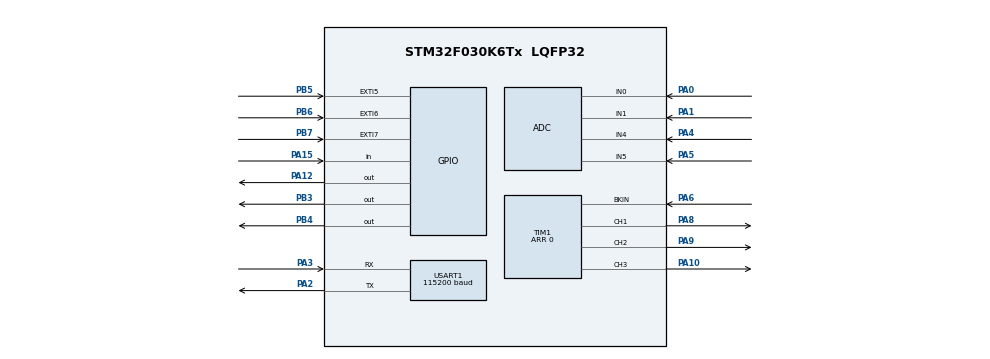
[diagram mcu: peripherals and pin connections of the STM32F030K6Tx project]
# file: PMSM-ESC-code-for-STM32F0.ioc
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ADC.ClockPrescaler=ADC_CLOCK_SYNC_PCLK_DIV4
ADC.ContinuousConvMode=ENABLE
ADC.EOCSelection=ADC_EOC_SEQ_CONV
ADC.SamplingTime=ADC_SAMPLETIME_13CYCLES_5
Dma.ADC.0.Direction=DMA_PERIPH_TO_MEMORY
Dma.ADC.0.Instance=DMA1_Channel1
Dma.ADC.0.MemDataAlignment=DMA_MDATAALIGN_HALFWORD
Dma.ADC.0.MemInc=DMA_MINC_ENABLE
Dma.ADC.0.Mode=DMA_CIRCULAR
Dma.ADC.0.PeriphDataAlignment=DMA_PDATAALIGN_HALFWORD
Dma.ADC.0.PeriphInc=DMA_PINC_DISABLE
Dma.ADC.0.Priority=DMA_PRIORITY_LOW
Dma.Request0=ADC
Mcu.Family=STM32F0
Mcu.Name=STM32F030K6Tx
Mcu.Package=LQFP32
NVIC.DMA1_Channel1_IRQn=true\:0\:0\:false\:false\:true\:false\:true\:true
PA0.Mode=IN0
PA0.Signal=ADC_IN0
PA1.Mode=IN1
PA1.Signal=ADC_IN1
PA10.GPIO_FMA10=__NULL
PA10.GPIO_Speed=GPIO_SPEED_FREQ_HIGH
PA10.Signal=S_TIM1_CH3
PA12.Signal=GPIO_Output
PA13.Mode=Serial_Wire
PA13.Signal=SYS_SWDIO
PA14.Mode=Serial_Wire
PA14.Signal=SYS_SWCLK
PA15.Signal=GPIO_Input
PA2.Mode=Asynchronous
PA2.Signal=USART1_TX
PA3.Mode=Asynchronous
PA3.Signal=USART1_RX
PA4.Mode=IN4
PA4.Signal=ADC_IN4
PA5.Mode=IN5
PA5.Signal=ADC_IN5
PA6.Mode=Activate-Break-Input
PA6.Signal=TIM1_BKIN
PA8.GPIO_Speed=GPIO_SPEED_FREQ_HIGH
PA8.Signal=S_TIM1_CH1
PA9.GPIO_FMA9=__NULL
PA9.GPIO_Speed=GPIO_SPEED_FREQ_HIGH
PA9.Signal=S_TIM1_CH2
PB3.Signal=GPIO_Output
PB4.Signal=GPIO_Output
PB5.GPIO_PuPd=GPIO_PULLUP
PB5.Signal=GPXTI5
PB6.GPIO_PuPd=GPIO_PULLUP
PB6.Signal=GPXTI6
PB7.GPIO_PuPd=GPIO_PULLUP
PB7.Signal=GPXTI7
PF0-OSC_IN.Mode=HSE-External-Oscillator
PF0-OSC_IN.Signal=RCC_OSC_IN
PF1-OSC_OUT.Mode=HSE-External-Oscillator
PF1-OSC_OUT.Signal=RCC_OSC_OUT
ProjectManager.HeapSize=0x200
ProjectManager.StackSize=0x400
ProjectManager.TargetToolchain=STM32CubeIDE
SH.S_TIM1_CH1.0=TIM1_CH1,PWM Generation1 CH1
SH.S_TIM1_CH2.0=TIM1_CH2,PWM Generation2 CH2
SH.S_TIM1_CH3.0=TIM1_CH3,PWM Generation3 CH3
TIM1.AutomaticOutput=TIM_AUTOMATICOUTPUT_ENABLE
TIM1.BreakPolarity=TIM_BREAKPOLARITY_LOW
TIM1.Channel-PWM\ Generation1\ CH1=TIM_CHANNEL_1
TIM1.Channel-PWM\ Generation2\ CH2=TIM_CHANNEL_2
TIM1.Channel-PWM\ Generation3\ CH3=TIM_CHANNEL_3
TIM1.OffStateIDLEMode=TIM_OSSI_DISABLE
TIM1.OffStateRunMode=TIM_OSSR_DISABLE
TIM1.Period=0
TIM14.Period=0
USART1.BaudRate=115200
USART1.VirtualMode-Asynchronous=VM_ASYNC
VP_ADC_TempSens_Input.Mode=IN-TempSens
VP_ADC_Vref_Input.Mode=IN-Vrefint
VP_TIM14_VS_ClockSourceINT.Mode=Enable_Timer
VP_TIM1_VS_ClockSourceINT.Mode=Internal
board=custom

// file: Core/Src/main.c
/* USER CODE BEGIN Header */
/**
  ******************************************************************************
  * @file           : main.c
  * @brief          : Main program body
  ******************************************************************************
  * @attention
  *
  * Copyright (c) 2025 STMicroelectronics.
  * All rights reserved.
  *
  * This software is licensed under terms that can be found in the LICENSE file
  * in the root directory of this software component.
  * If no LICENSE file comes with this software, it is provided AS-IS.
  *
  ******************************************************************************
  */
/* USER CODE END Header */
#include "main.h"
#include "adc.h"
#include "dma.h"
#include "tim.h"
#include "usart.h"
#include "gpio.h"

/* USER CODE BEGIN Includes */
#include "PMSM_FUNC.h"
#include "board_config_V1.h"
/* USER CODE END Includes */

/* USER CODE BEGIN PV */
#ifdef ENABLE_UART_DEBUG
char stringToUART[100] = "buffer here\r\n";//{'\0',};
#endif
uint16_t ADCBuffer[6]={0,};
extern uint32_t globalTime;
/* USER CODE END PV */

void SystemClock_Config(void);

int main(void)
{

  /* MCU Configuration--------------------------------------------------------*/

  /* Reset of all peripherals, Initializes the Flash interface and the Systick. */
  HAL_Init();

  /* Configure the system clock */
  SystemClock_Config();

  /* Initialize all configured peripherals */
//  MX_GPIO_Init();
  MX_DMA_Init();
  MX_ADC_Init();
  MX_TIM1_Init();
  MX_TIM14_Init();
  MX_USART1_UART_Init();
  /* USER CODE BEGIN 2 */
  initGPIO();
	HAL_ADCEx_Calibration_Start(&hadc);
	HAL_ADC_Start_DMA(&hadc,(uint32_t*)&ADCBuffer,6);

	PMSM_Init();
	initController();
  /* USER CODE END 2 */

  /* Infinite loop */
  while (1)
  {

    /* USER CODE BEGIN 3 */

	  //sendToUART("HELLO\r\n");
	  //snprintf(stringToUART,100,"ADCBuffer=%d\r\n",ADCBuffer[0]);
	  //sendToUART(stringToUART);

	  if ((ADCBuffer[0] & 0xFFF0) > getThrottleStartValue()) {
		  // If Motor Is not running
		  if (!isMotorRunning()) {
			  // Start motor
			  // Check Reverse button
			  if (isReverseButtonPressed()) {
				  // Reverse
				  setMotorSpinDirection(PMSM_CCW);
			  } else {
				  // Forward
				  setMotorSpinDirection(PMSM_CW);
			  }
			  BLDC_MotorCommutation(getRotorSector());
			  setMotorRunningState(true);
		  }

		  PMSM_updatePMSMPWMVariable(PMSM_ADCToPWM(ADCBuffer[0] & 0xFFF0));
		  __HAL_TIM_ENABLE_IT(&htim1,TIM_IT_UPDATE);//start timer 1 interrupt
#ifdef ENABLE_UART_DEBUG
		  snprintf(stringToUART,100,"PMSM_PWM=%d\r\n",PMSM_ADCToPWM(ADCBuffer[0] & 0xFFF8));
		  //snprintf(stringToUART,100,"GT=%d CNT=%d\r\n",globalTime,counter);
		  sendToUART(stringToUART);
#endif
		  GPIO_SET_PIN(GPIOB, GREEN_LED);//set green LED
	  }else {
		  __HAL_TIM_DISABLE_IT(&htim1,TIM_IT_UPDATE);//stop timer 1 interrupt
		  PMSM_SetPWMWidthToYGB(0);
		  GPIO_SET_PIN(GPIOB, GREEN_LED);//reset green LED
	  }
  }
  /* USER CODE END 3 */
}

//void SystemClock_Config(void)
//{
//  RCC_OscInitTypeDef RCC_OscInitStruct = {0};
//  RCC_ClkInitTypeDef RCC_ClkInitStruct = {0};
//  RCC_PeriphCLKInitTypeDef PeriphClkInit = {0};
//
//  /** Initializes the RCC Oscillators according to the specified parameters
//  * in the RCC_OscInitTypeDef structure.
//  */
//  RCC_OscInitStruct.OscillatorType = RCC_OSCILLATORTYPE_HSI;
//  RCC_OscInitStruct.HSIState = RCC_HSI_ON;
//  RCC_OscInitStruct.HSICalibrationValue = RCC_HSICALIBRATION_DEFAULT;
//  RCC_OscInitStruct.PLL.PLLState = RCC_PLL_NONE;
//  if (HAL_RCC_OscConfig(&RCC_OscInitStruct) != HAL_OK)
//  {
//    Error_Handler();
//  }
//
//  /** Initializes the CPU, AHB and APB buses clocks
//  */
//  RCC_ClkInitStruct.ClockType = RCC_CLOCKTYPE_HCLK|RCC_CLOCKTYPE_SYSCLK
//                              |RCC_CLOCKTYPE_PCLK1;
//  RCC_ClkInitStruct.SYSCLKSource = RCC_SYSCLKSOURCE_HSI;
//  RCC_ClkInitStruct.AHBCLKDivider = RCC_SYSCLK_DIV1;
//  RCC_ClkInitStruct.APB1CLKDivider = RCC_HCLK_DIV1;
//
//  if (HAL_RCC_ClockConfig(&RCC_ClkInitStruct, FLASH_LATENCY_0) != HAL_OK)
//  {
//    Error_Handler();
//  }
//  PeriphClkInit.PeriphClockSelection = RCC_PERIPHCLK_USART1;
//  PeriphClkInit.Usart1ClockSelection = RCC_USART1CLKSOURCE_PCLK1;
//  if (HAL_RCCEx_PeriphCLKConfig(&PeriphClkInit) != HAL_OK)
//  {
//    Error_Handler();
//  }
//}

/* USER CODE BEGIN 4 */
//*********************************************handling system clk***************//
void SystemClock_Config(void)
{
  // Enable HSI (High Speed Internal) clock
  RCC->CR |= RCC_CR_HSION;

  // Wait till HSI is ready
  while((RCC->CR & RCC_CR_HSIRDY) == 0);

  // Configure the Flash latency and enable prefetch buffer
  FLASH->ACR |= FLASH_ACR_LATENCY | FLASH_ACR_PRFTBE;

  // Configure the AHB and APB bus clocks
  RCC->CFGR |= RCC_CFGR_HPRE_DIV1;   // HCLK = SYSCLK
  RCC->CFGR |= RCC_CFGR_PPRE_DIV1;  // PCLK1 = HCLK

  // Select HSI as the system clock source
  RCC->CFGR &= ~RCC_CFGR_SW;          // Clear SW bits
  RCC->CFGR |= RCC_CFGR_SW_HSI;       // Set HSI as system clock

  // Wait till HSI is used as the system clock source
  while ((RCC->CFGR & RCC_CFGR_SWS) != RCC_CFGR_SWS_HSI);

  // Configure the USART1 clock source to PCLK1
  RCC->CIR &= ~RCC_CFGR3_USART1SW;  // Clear USART1 clock source selection bits
  RCC->CIR |= RCC_CFGR3_USART1SW_0; // Set PCLK1 as USART1 clock source
}
/* USER CODE END 4 */

void Error_Handler(void)
{
  __disable_irq();
  while (1)
  {
  }
}
